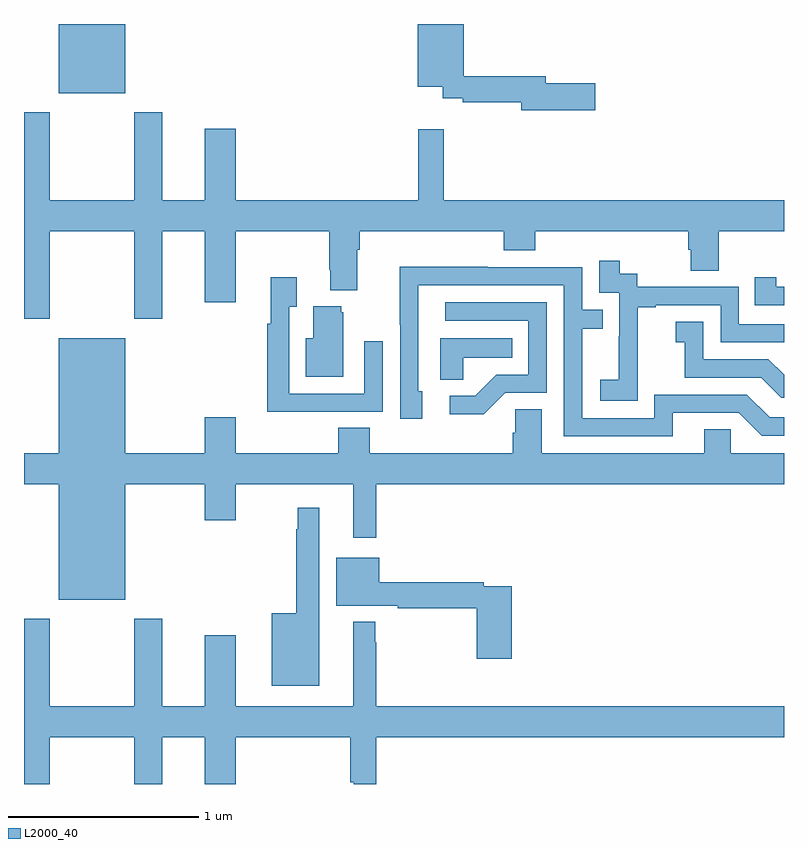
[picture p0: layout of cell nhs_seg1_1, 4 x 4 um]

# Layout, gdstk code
import gdstk
lib = gdstk.Library(unit=1e-6, precision=1e-09)
def R(c, l, rs):  # rectangles x0, y0, x1, y1
    for r in rs: c.add(gdstk.rectangle(r[:2], r[2:], *l))
def P(c, l, *ps):  # polygons
    for p in ps: c.add(gdstk.Polygon(p, *l))
L2000_40 = (2000, 40)

nhs_seg1_1 = lib.new_cell('nhs_seg1_1')
R(nhs_seg1_1, L2000_40, [(111.182,509.834,111.532,510.199)])
P(nhs_seg1_1, L2000_40, [(114.007,509.888),(113.746,509.888),(113.746,509.924),(113.314,509.924),(113.314,510.199),(113.072,510.199),(113.072,509.87),(113.204,509.87),(113.204,509.807),(113.308,509.807),(113.308,509.788),(113.618,509.788),(113.618,509.746),(114.007,509.746)],
  [(111.135,509.108),(111.58,509.108),(111.58,508.647),(111.727,508.647),(111.727,509.108),(111.95,509.108),(111.95,508.734),(112.114,508.734),(112.114,509.108),(112.606,509.108),(112.606,508.906),(112.613,508.906),(112.613,508.799),(112.753,508.799),(112.753,509.012),(112.766,509.012),(112.766,509.108),(113.525,509.108),(113.525,509.009),(113.69,509.009),(113.69,509.108),(114.497,509.108),(114.497,509.01),(114.509,509.01),(114.509,508.9),(114.657,508.9),(114.657,509.108),(115,509.108),(115,509.272),(113.21,509.272),(113.21,509.644),(113.074,509.644),(113.074,509.272),(112.114,509.272),(112.114,509.647),(111.95,509.647),(111.95,509.272),(111.727,509.272),(111.727,509.734),(111.58,509.734),(111.58,509.272),(111.135,509.272),(111.135,509.734),(111,509.734),(111,508.647),(111.135,508.647)],
  [(114.231,508.423),(114.23,508.423),(114.23,508.707),(114.325,508.707),(114.325,508.719),(114.666,508.719),(114.666,508.524),(115,508.524),(115,508.62),(114.762,508.62),(114.762,508.815),(114.228,508.815),(114.228,508.884),(114.136,508.884),(114.136,508.954),(114.027,508.954),(114.027,508.785),(114.132,508.785),(114.132,508.556),(114.131,508.556),(114.131,508.327),(114.033,508.327),(114.033,508.217),(114.231,508.217)],
  [(114.415,508.152),(114.762,508.152),(114.882,508.032),(115,508.032),(115,508.128),(114.924,508.128),(114.804,508.248),(114.318,508.248),(114.318,508.125),(113.937,508.125),(113.937,508.594),(114.047,508.594),(114.047,508.695),(113.937,508.695),(113.937,508.92),(113.441,508.92),(113.441,508.922),(112.978,508.922),(112.978,508.615),(112.98,508.615),(112.98,508.122),(113.095,508.122),(113.095,508.266),(113.076,508.266),(113.076,508.824),(113.841,508.824),(113.841,508.029),(114.415,508.029)],
  [(112.571,508.158),(112.887,508.158),(112.887,508.528),(112.791,508.528),(112.791,508.254),(112.395,508.254),(112.395,508.711),(112.435,508.711),(112.435,508.867),(112.298,508.867),(112.298,508.622),(112.279,508.622),(112.279,508.157),(112.571,508.157)],
  [(115,508.815),(114.958,508.815),(114.958,508.867),(114.847,508.867),(114.847,508.719),(115,508.719)],
  [(113.532,508.257),(113.751,508.257),(113.751,508.734),(113.217,508.734),(113.217,508.638),(113.655,508.638),(113.655,508.353),(113.486,508.353),(113.375,508.242),(113.241,508.242),(113.241,508.145),(113.419,508.145)],
  [(112.681,508.683),(112.67,508.683),(112.67,508.714),(112.523,508.714),(112.523,508.546),(112.484,508.546),(112.484,508.343),(112.681,508.343)],
  [(115,508.352),(114.918,508.434),(114.576,508.434),(114.576,508.633),(114.429,508.633),(114.429,508.523),(114.478,508.523),(114.478,508.338),(114.881,508.338),(114.986,508.233),(115,508.233)],
  [(111.532,507.776),(111.95,507.776),(111.95,507.588),(112.114,507.588),(112.114,507.776),(112.733,507.776),(112.733,507.495),(112.855,507.495),(112.855,507.776),(115,507.776),(115,507.94),(114.72,507.94),(114.72,508.067),(114.581,508.067),(114.581,507.94),(113.725,507.94),(113.725,508.172),(113.586,508.172),(113.586,508.049),(113.573,508.049),(113.573,507.94),(112.82,507.94),(112.82,508.073),(112.655,508.073),(112.655,507.94),(112.114,507.94),(112.114,508.129),(111.95,508.129),(111.95,507.94),(111.532,507.94),(111.532,508.546),(111.182,508.546),(111.182,507.94),(111,507.94),(111,507.776),(111.182,507.776),(111.182,507.17),(111.532,507.17)],
  [(113.313,508.442),(113.57,508.442),(113.57,508.546),(113.192,508.546),(113.192,508.327),(113.313,508.327)],
  [(112.555,507.652),(112.441,507.652),(112.441,507.539),(112.434,507.539),(112.434,507.097),(112.304,507.097),(112.304,506.717),(112.555,506.717)],
  [(113.567,507.24),(113.42,507.24),(113.42,507.26),(112.87,507.26),(112.87,507.391),(112.643,507.391),(112.643,507.137),(112.966,507.137),(112.966,507.124),(113.384,507.124),(113.384,506.859),(113.567,506.859)],
  [(111.135,506.444),(111.58,506.444),(111.58,506.199),(111.727,506.199),(111.727,506.444),(111.95,506.444),(111.95,506.199),(112.114,506.199),(112.114,506.444),(112.717,506.444),(112.717,506.208),(112.736,506.208),(112.736,506.199),(112.853,506.199),(112.853,506.444),(115,506.444),(115,506.608),(112.855,506.608),(112.855,506.945),(112.848,506.945),(112.848,507.052),(112.733,507.052),(112.733,506.608),(112.114,506.608),(112.114,506.983),(111.95,506.983),(111.95,506.608),(111.727,506.608),(111.727,507.07),(111.58,507.07),(111.58,506.608),(111.135,506.608),(111.135,507.07),(111,507.07),(111,506.199),(111.135,506.199)])

lib.write_gds('nhs_seg1_1.gds')
